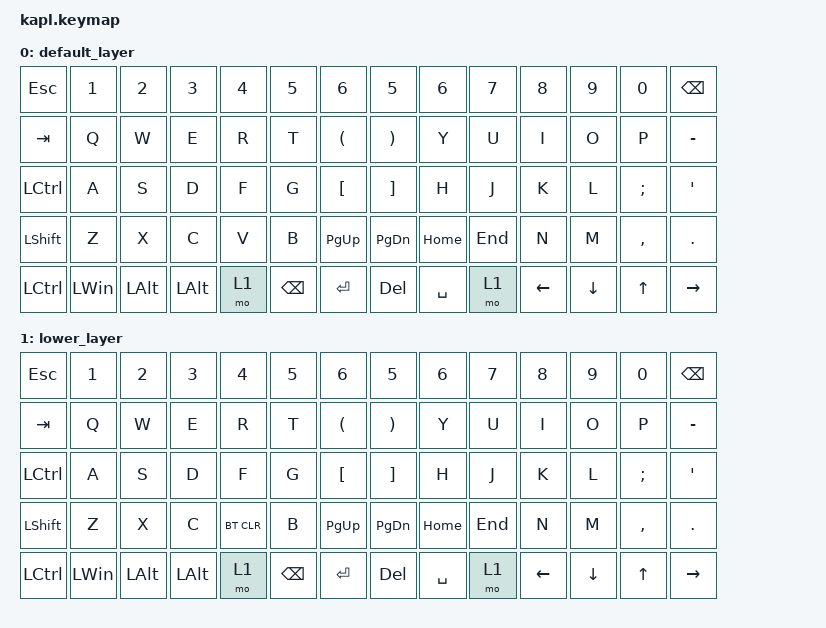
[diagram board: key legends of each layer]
#include <behaviors.dtsi>
#include <dt-bindings/zmk/keys.h>
#include <dt-bindings/zmk/bt.h>
#include <dt-bindings/zmk/ext_power.h>
#include <dt-bindings/zmk/outputs.h>

/ {
    keymap {
        compatible =  "zmk,keymap" ;

        default_layer {
// --------------------------------------------------------------------------------------------------------------------------------
// | ESC   |  1  |  2  |   3   |  4  |  5  |                   ---                |  6    |  7    |  8    |  9   | 0  |    BKSP   |
// | TAB   |  Q  |  W  |   E   |  R  |  T  |   (   |           ---        |  )    |  Y    |  U    |  I    |  O   | P  |     -     |
// | CTRL  |  A  |  S  |   D   |  F  |  G  |   [   |           ---        |  ]    |  H    |  J    |  K    |  L   | ;  |     '     |
// | SHIFT |  Z  |  X  |   C   |  V  |  B  | PG_UP | PG_DOWN | --- | HOME | END   |  N    |  M    |  ,    |  .   | /  | SHFT(RET) |
// | CRTL  | ALT | GUI | LOWER |    GUI    | LOWER | SPACE   | --- | DEL  | SPACE |     RAISE     | LEFT  | DOWN | UP |   RIGHT   |
            bindings = <
   &kp ESC   &kp N1   &kp N2   &kp N3   &kp N4  &kp N5   &kp N6             &kp N5    &kp N6    &kp N7   &kp N8    &kp N9    &kp N0     &kp BSPC
   &kp TAB   &kp Q    &kp W    &kp E    &kp R   &kp T    &kp LPAR           &kp RPAR  &kp Y     &kp U    &kp I     &kp O     &kp P      &kp MINUS
   &kp LCTRL &kp A    &kp S    &kp D    &kp F   &kp G    &kp LBKT           &kp RBKT  &kp H     &kp J    &kp K     &kp L     &kp SEMI   &kp SQT
   &kp LSHFT &kp Z    &kp X    &kp C    &kp V   &kp B    &kp PG_UP          &kp PG_DN &kp HOME  &kp END  &kp N     &kp M     &kp COMMA  &kp DOT
   &kp LCTRL &kp LWIN &kp LALT &kp LALT &mo 1   &kp BSPC &kp ENTER          &kp DEL   &kp SPACE &mo 1    &kp LEFT  &kp DOWN  &kp UP     &kp RIGHT
            >;

        };
        
        lower_layer {
// --------------------------------------------------------------------------------------------------------------------------
// | ESC   |  1  |  2  |   3   |   4   |  5  |                   ---              |  6  |  7  |   8  |  9   |  0  |  DEL  |
// | ESC   |  1  |  2  |   3   |   4   |  5  |   (   |           ---        |  )  |  6  |  7  |   8  |  9   |  0  |  DEL  |
// | CTRL  |  -  |  =  |   [   |   ]   |  \  |   [   |           ---        |  ]  |  *  |  4  |   5  |  6   |  +  |   -   |
// | SHIFT | ESC | GUI | COPY  | PASTE |     | PG_UP | PG_DOWN | --- | HOME | END |  \  |  1  |   2  |  3   | RET |  RET  |
// | CRTL  | ALT | GUI | LOWER |     GUI     | LOWER | SPACE   | --- | DEL  |  0  |    RAISE  | LEFT | DOWN | UP  | RIGHT |
            bindings = <
   &kp ESC   &kp N1   &kp N2   &kp N3   &kp N4     &kp N5   &kp N6             &kp N5    &kp N6    &kp N7   &kp N8    &kp N9    &kp N0     &kp BSPC
   &kp TAB   &kp Q    &kp W    &kp E    &kp R      &kp T    &kp LPAR           &kp RPAR  &kp Y     &kp U    &kp I     &kp O     &kp P      &kp MINUS
   &kp LCTRL &kp A    &kp S    &kp D    &kp F      &kp G    &kp LBKT           &kp RBKT  &kp H     &kp J    &kp K     &kp L     &kp SEMI   &kp SQT
   &kp LSHFT &kp Z    &kp X    &kp C    &bt BT_CLR &kp B    &kp PG_UP          &kp PG_DN &kp HOME  &kp END  &kp N     &kp M     &kp COMMA  &kp DOT
   &kp LCTRL &kp LWIN &kp LALT &kp LALT &mo 1      &kp BSPC &kp ENTER          &kp DEL   &kp SPACE &mo 1    &kp LEFT  &kp DOWN  &kp UP     &kp RIGHT
            >;
        };
    };
};
